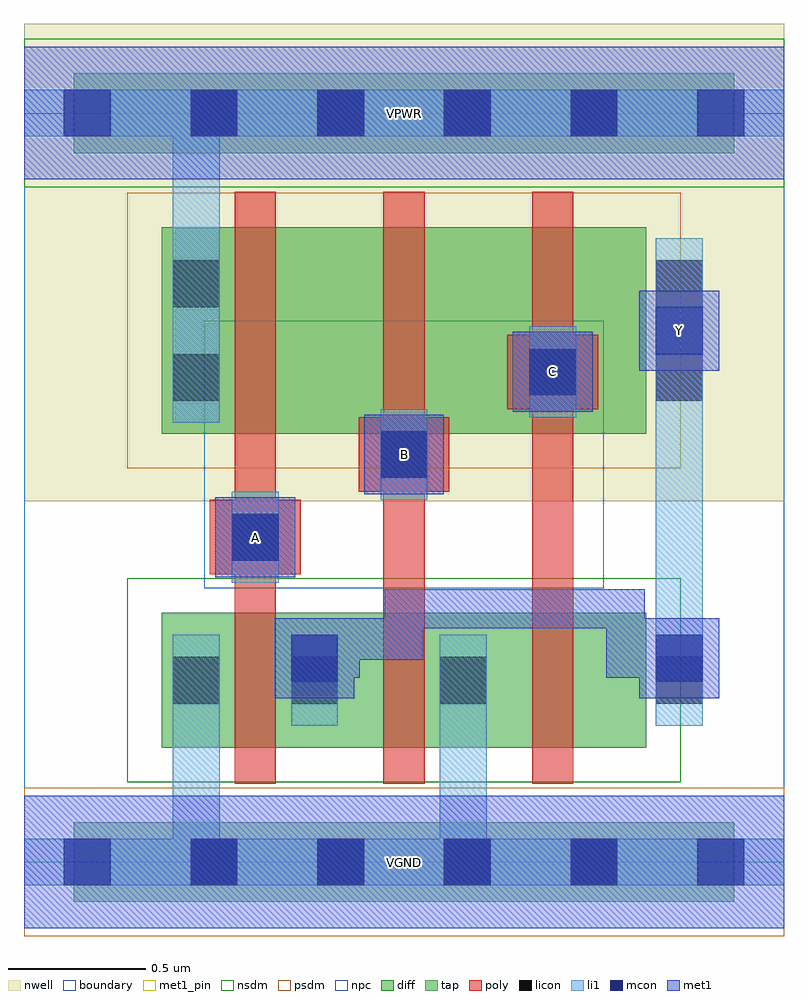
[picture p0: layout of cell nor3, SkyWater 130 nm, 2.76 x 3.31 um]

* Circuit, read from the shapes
.subckt nor3 A B C VGND VPWR Y
XM1 Y A VGND VGND sky130_fd_pr__nfet_01v8 w=0.49 l=0.15
XM2 VGND B Y VGND sky130_fd_pr__nfet_01v8 w=0.49 l=0.15
XM3 n1 C VGND VGND sky130_fd_pr__nfet_01v8 w=0.49 l=0.15
XM4 n2 A VPWR VPWR sky130_fd_pr__pfet_01v8 w=0.75 l=0.15
XM5 n3 B n2 VPWR sky130_fd_pr__pfet_01v8 w=0.84 l=0.1468
XM6 n4 C n3 VPWR sky130_fd_pr__pfet_01v8 w=0.93 l=0.1732
.ends

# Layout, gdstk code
import gdstk
lib = gdstk.Library(unit=1e-6, precision=1e-09)
def R(c, l, rs):  # rectangles x0, y0, x1, y1
    for r in rs: c.add(gdstk.rectangle(r[:2], r[2:], *l))
def A(c, l, x, y, w, h, nx, ny, dx, dy):  # array of equal rectangles
    R(c, l, [(x+i*dx, y+j*dy, x+i*dx+w, y+j*dy+h) for i in range(nx) for j in range(ny)])
nwell = (64, 20)
diff = (65, 20)
tap = (65, 44)
poly = (66, 20)
licon = (66, 44)
li1 = (67, 20)
mcon = (67, 44)
met1_pin = (68, 16)
met1 = (68, 20)
nsdm = (93, 44)
psdm = (94, 20)
npc = (95, 20)
boundary = (235, 4)

nor3 = lib.new_cell('nor3')
R(nor3, nwell, [(0,1.31,2.76,3.045)])
R(nor3, diff, [(0.5,0.415,2.26,0.905), (0.5,1.555,2.26,2.305)])
R(nor3, tap, [(0.18,-0.145,2.58,0.145), (0.18,2.575,2.58,2.865)])
A(nor3, poly, 0.765, 0.285, 0.15, 2.15, 3, 1, 0.54, 0)
R(nor3, poly, [(0.675,1.045,1.005,1.315), (1.215,1.345,1.545,1.615), (1.755,1.645,2.085,1.915)])
A(nor3, licon, 0.605, -0.085, 0.17, 0.17, 4, 2, 0.46, 2.72)
R(nor3, licon, [(0.54,0.575,0.71,0.745), (0.97,0.575,1.14,0.745), (1.51,0.575,1.68,0.745), (2.295,0.575,2.465,0.745), (0.755,1.095,0.925,1.265), (1.295,1.395,1.465,1.565), (0.54,1.675,0.71,1.845), (2.295,1.675,2.465,1.845), (1.835,1.695,2.005,1.865), (0.54,2.015,0.71,2.185), (2.295,2.015,2.465,2.185)])
R(nor3, li1, [(0,-0.085,2.76,0.085), (0.54,-0.085,0.71,0.825), (1.51,-0.085,1.68,0.825), (0.54,0.495,0.71,0.825), (0.97,0.495,1.14,0.825), (1.51,0.495,1.68,0.825), (2.295,0.495,2.465,0.825), (2.295,0.495,2.465,2.265), (0.755,1.015,0.925,1.345), (1.295,1.315,1.465,1.645), (0.54,1.595,0.71,2.265), (0.54,1.595,0.71,2.805), (2.295,1.595,2.465,2.265), (1.835,1.615,2.005,1.945), (0,2.635,2.76,2.805)])
A(nor3, mcon, 0.145, -0.085, 0.17, 0.17, 6, 2, 0.46, 2.72)
R(nor3, mcon, [(0.97,0.655,1.14,0.825), (2.295,0.655,2.465,0.825), (0.755,1.095,0.925,1.265), (1.295,1.395,1.465,1.565), (1.835,1.695,2.005,1.865), (2.295,1.845,2.465,2.015)])
R(nor3, met1_pin, [(0,-0.24,2.76,0.24), (0.695,1.035,0.985,1.325), (1.235,1.335,1.525,1.625), (1.775,1.635,2.065,1.925), (2.235,1.785,2.525,2.075), (0,2.48,2.76,2.96)])
R(nor3, met1, [(0,-0.24,2.76,0.24), (0.91,0.595,1.2,0.885), (2.235,0.595,2.525,0.885), (0.985,0.67,1.22,0.81), (1.08,0.67,1.22,0.875), (2.115,0.67,2.45,0.81), (2.115,0.67,2.255,0.99), (1.08,0.735,1.45,0.875), (1.2,0.735,1.31,0.885), (1.31,0.735,1.45,0.99), (1.2,0.85,1.31,0.885), (1.31,0.85,2.255,0.99), (0.695,1.035,0.985,1.325), (1.235,1.335,1.525,1.625), (1.775,1.635,2.065,1.925), (2.235,1.785,2.525,2.075), (0,2.48,2.76,2.96)])
R(nor3, nsdm, [(0.375,0.29,2.385,1.03), (0,2.45,2.76,2.99)])
R(nor3, psdm, [(0,-0.27,2.76,0.27), (0.375,1.43,2.385,2.43)])
R(nor3, npc, [(0.655,0.995,2.105,1.965)])
R(nor3, boundary, [(0,0,2.76,2.72)])
nor3.add(gdstk.Label('A', (0.84,1.18), layer=68, texttype=5))
nor3.add(gdstk.Label('B', (1.38,1.48), layer=68, texttype=5))
nor3.add(gdstk.Label('C', (1.92,1.78), layer=68, texttype=5))
nor3.add(gdstk.Label('Y', (2.38,1.93), layer=68, texttype=5))
nor3.add(gdstk.Label('VPWR', (1.38,2.72), layer=68, texttype=5))
nor3.add(gdstk.Label('VGND', (1.38,0), layer=68, texttype=5))
nor3.add(gdstk.Label('A', (0.84,1.18), layer=68, texttype=16))
nor3.add(gdstk.Label('B', (1.38,1.48), layer=68, texttype=16))
nor3.add(gdstk.Label('C', (1.92,1.78), layer=68, texttype=16))
nor3.add(gdstk.Label('Y', (2.38,1.93), layer=68, texttype=16))
nor3.add(gdstk.Label('VPWR', (1.38,2.72), layer=68, texttype=16))
nor3.add(gdstk.Label('VGND', (1.38,0), layer=68, texttype=16))

lib.write_gds('nor3.gds')
